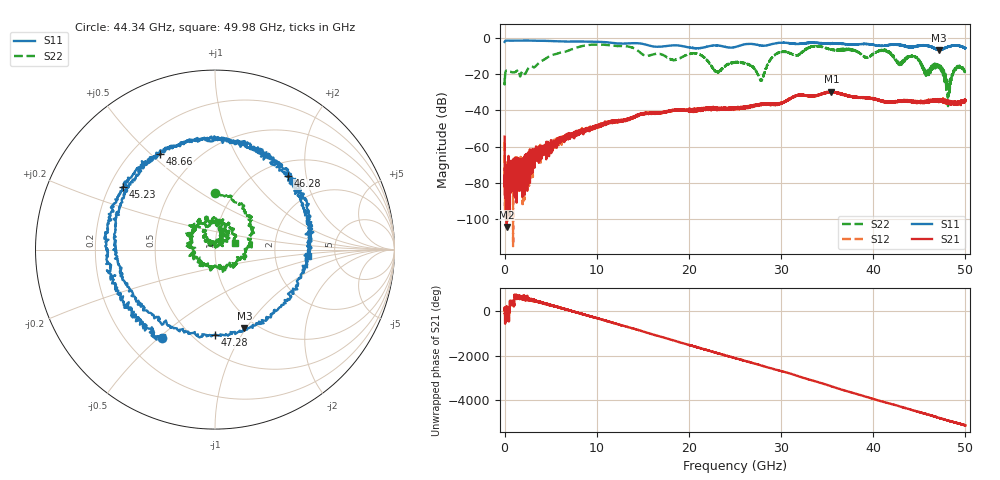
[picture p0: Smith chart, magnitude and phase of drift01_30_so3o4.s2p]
!Created with skrf (http://scikit-rf.org).
# Hz S RI R 50.0
!freq ReS11 ImS11 ReS21 ImS21 ReS12 ImS12 ReS22 ImS22
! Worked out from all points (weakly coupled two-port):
!   10001 points, 300 kHz to 50 GHz, reference 50 ohm
!   highest |S21| = -29.58 dB at 35.47 GHz (marker M1); lowest = -104.3 dB at 235.3 MHz (marker M2)
!   lowest |S11| = -6.6 dB at 47.15 GHz (marker M3), VSWR 2.75, Z = 43.9 - j49.1 ohm
!   |S11| at or under -10 dB: nowhere
!   |S22| runs from -37.6 to -3.6 dB; largest |S21 - S12| = 0.0037
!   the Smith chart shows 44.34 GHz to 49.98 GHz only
!   S11 on the Smith chart (normalised r, x): 44.34 GHz: 0.35, -0.51; 45.23 GHz: 0.25, +0.29; 46.28 GHz: 1.29, +1.57; 47.28 GHz: 0.63, -0.77; 48.66 GHz: 0.31, +0.53; 49.98 GHz: 3.14, -0.33
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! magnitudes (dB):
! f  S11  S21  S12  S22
! 300 kHz  -2.1  -54.4  -57.5  -22.1
! 235.3 MHz  -1.4  -104.3  -73.4  -18.0
! 8.335 GHz  -1.9  -50.3  -51.4  -4.5
! 16.67 GHz  -4.8  -41.3  -41.6  -8.7
! 20.97 GHz  -5.7  -40.1  -39.7  -8.8
! 23.07 GHz  -4.1  -38.7  -39.0  -18.7
! 25 GHz  -5.0  -38.8  -38.8  -13.7
! 27.84 GHz  -4.1  -36.6  -36.6  -22.9
! 29.48 GHz  -2.9  -36.6  -36.6  -8.8
! 33.34 GHz  -2.6  -32.1  -32.0  -4.8
! 35.47 GHz  -3.1  -29.6  -29.8  -6.5
! 41.67 GHz  -3.9  -35.7  -35.3  -7.7
! 42.85 GHz  -3.9  -35.0  -34.8  -14.3
! 44.34 GHz  -4.9  -35.2  -35.0  -10.0
! 45.23 GHz  -4.1  -35.4  -35.4  -14.2
! 46.28 GHz  -4.8  -34.4  -34.6  -15.6
! 47.15 GHz  -6.6  -34.1  -34.7  -15.1
! 47.28 GHz  -6.5  -34.1  -34.3  -16.1
! 48.12 GHz  -4.9  -35.8  -35.7  -34.9
! 48.66 GHz  -4.2  -36.3  -35.9  -20.1
! 49.98 GHz  -5.7  -34.5  -35.4  -18.5
! 50 GHz  -5.6  -34.4  -35.1  -18.5
